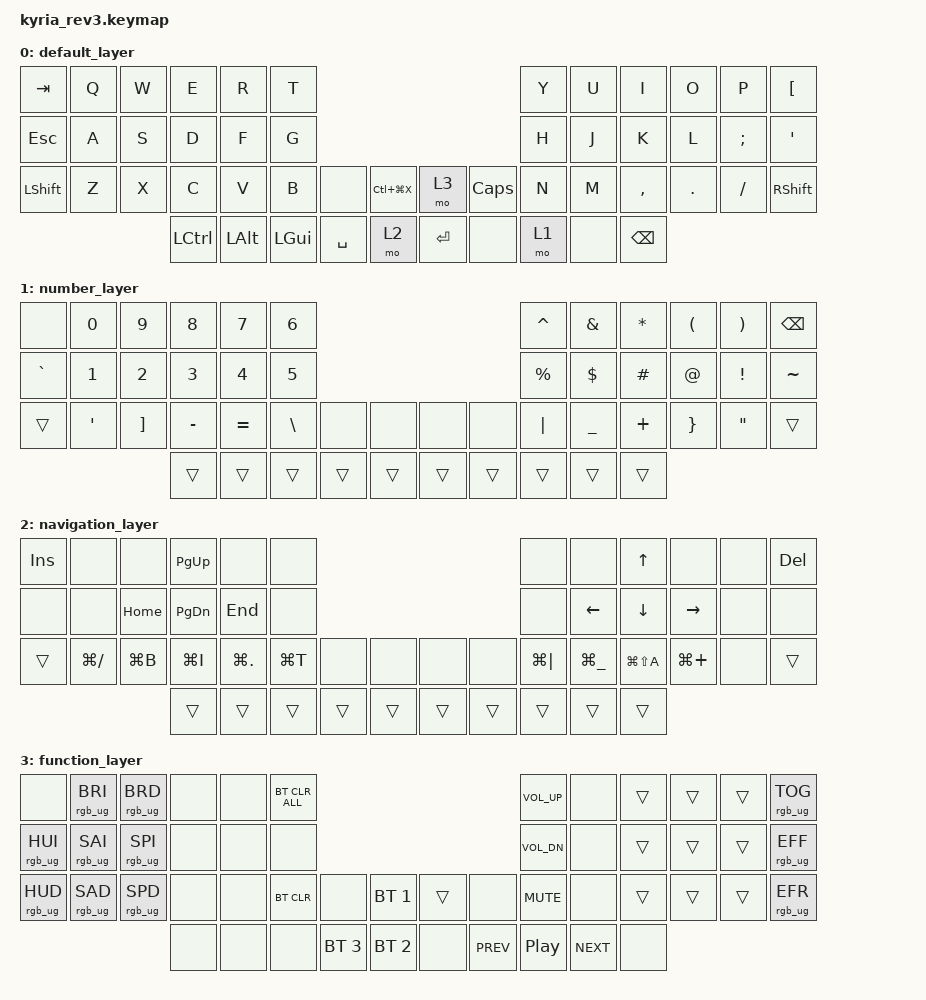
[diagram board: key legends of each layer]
/*
 * Copyright (c) 2023 The ZMK Contributors
 *
 * SPDX-License-Identifier: MIT
 */

#include <behaviors.dtsi>
#include <dt-bindings/zmk/bt.h>
#include <dt-bindings/zmk/keys.h>
#include <dt-bindings/zmk/rgb.h>

&led_strip {
    // chain-length = <6>;

    chain-length = <31>; // Uncomment if using both per-key and underglow LEDs
    // chain-length = <25>; // Uncomment if using only per-key LEDs.
};

/ {
    chosen { zmk,underglow = &led_strip; };

    keymap {
        compatible = "zmk,keymap";

        default_layer {
            bindings = <
&kp TAB    &kp Q  &kp W  &kp E      &kp R     &kp T                                                  &kp Y  &kp U  &kp I      &kp O    &kp P     &kp LBKT
&kp ESC    &kp A  &kp S  &kp D      &kp F     &kp G                                                  &kp H  &kp J  &kp K      &kp L    &kp SEMI  &kp SQT
&kp LSHFT  &kp Z  &kp X  &kp C      &kp V     &kp B     &none      &kp LC(LG(X))  &mo 3    &kp CAPS  &kp N  &kp M  &kp COMMA  &kp DOT  &kp FSLH  &kp RSHFT
                         &kp LCTRL  &kp LALT  &kp LGUI  &kp SPACE  &mo 2          &kp RET  &none     &mo 1  &none  &kp BSPC
            >;
        };

        number_layer {
            bindings = <
&none      &kp N0   &kp N9    &kp N8     &kp N7     &kp N6                                    &kp CARET  &kp AMPS   &kp STAR  &kp LPAR  &kp RPAR  &kp BSPC
&kp GRAVE  &kp N1   &kp N2    &kp N3     &kp N4     &kp N5                                    &kp PRCNT  &kp DLLR   &kp HASH  &kp AT    &kp EXCL  &kp TILDE
&trans     &kp SQT  &kp RBKT  &kp MINUS  &kp EQUAL  &kp BSLH  &none   &none   &none   &none   &kp PIPE   &kp UNDER  &kp PLUS  &kp RBRC  &kp DQT   &trans
                              &trans     &trans     &trans    &trans  &trans  &trans  &trans  &trans     &trans     &trans
            >;
        };

        navigation_layer {
            bindings = <
&kp INS  &none         &none      &kp PG_UP  &none        &none                                      &none         &none          &kp UP         &none         &none  &kp DEL
&none    &none         &kp HOME   &kp PG_DN  &kp END      &none                                      &none         &kp LEFT       &kp DOWN       &kp RIGHT     &none  &none
&trans   &kp LG(FSLH)  &kp LG(B)  &kp LG(I)  &kp LG(DOT)  &kp LG(T)  &none   &none   &none   &none   &kp LG(PIPE)  &kp LG(UNDER)  &kp LG(LS(A))  &kp LG(PLUS)  &none  &trans
                                  &trans     &trans       &trans     &trans  &trans  &trans  &trans  &trans        &trans         &trans
            >;
        };

        function_layer {
            bindings = <
&none            &rgb_ug RGB_BRI  &rgb_ug RGB_BRD  &none  &none  &bt BT_CLR_ALL                                                  &kp C_VOL_UP  &none       &trans  &trans  &trans  &rgb_ug RGB_TOG
&rgb_ug RGB_HUI  &rgb_ug RGB_SAI  &rgb_ug RGB_SPI  &none  &none  &none                                                           &kp C_VOL_DN  &none       &trans  &trans  &trans  &rgb_ug RGB_EFF
&rgb_ug RGB_HUD  &rgb_ug RGB_SAD  &rgb_ug RGB_SPD  &none  &none  &bt BT_CLR      &none         &bt BT_SEL 1  &trans  &none       &kp C_MUTE    &none       &trans  &trans  &trans  &rgb_ug RGB_EFR
                                                   &none  &none  &none           &bt BT_SEL 3  &bt BT_SEL 2  &none   &kp C_PREV  &kp C_PP      &kp C_NEXT  &none
            >;
        };
    };
};

